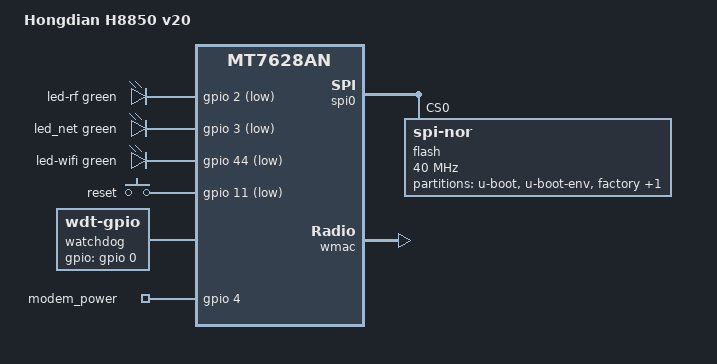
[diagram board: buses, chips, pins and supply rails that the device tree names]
// SPDX-License-Identifier: GPL-2.0-or-later OR MIT

#include "mt7628an.dtsi"

#include <dt-bindings/gpio/gpio.h>
#include <dt-bindings/input/input.h>
#include <dt-bindings/leds/common.h>

/ {
	compatible = "hongdian,h8850-v20", "mediatek,mt7628an-soc";
	model = "Hongdian H8850 v20";

	aliases {
		led-boot = &led_net;
		led-failsafe = &led_net;
		led-running = &led_net;
		led-upgrade = &led_net;
	};

	chosen {
		bootargs = "console=ttyS0,115200";
	};

	leds {
		compatible = "gpio-leds";

		led-rf {
			gpios = <&gpio 2 GPIO_ACTIVE_LOW>;
			color = <LED_COLOR_ID_GREEN>;
			function = "rf";
		};

		led_net: led-net {
			gpios = <&gpio 3 GPIO_ACTIVE_LOW>;
			color = <LED_COLOR_ID_GREEN>;
			function = LED_FUNCTION_MOBILE;
		};

		led-wifi {
			gpios = <&gpio 44 GPIO_ACTIVE_LOW>;
			color = <LED_COLOR_ID_GREEN>;
			function = LED_FUNCTION_WLAN;
			linux,default-trigger = "phy0tpt";
		};
	};

	keys {
		compatible = "gpio-keys";

		reset {
			label = "reset";
			gpios = <&gpio 11 GPIO_ACTIVE_LOW>;
			linux,code = <KEY_RESTART>;
		};
	};

	watchdog {
		compatible = "linux,wdt-gpio";

		gpios = <&gpio 0 GPIO_ACTIVE_HIGH>;
		hw_algo = "toggle";
		hw_margin_ms = <600>;
		always-running;
	};

	gpio-export {
		compatible = "gpio-export";

		gpio_modem_power {
			gpio-export,name = "modem_power";
			gpio-export,output = <1>;
			gpios = <&gpio 4 GPIO_ACTIVE_HIGH>;
		};
	};
};

&watchdog {
	status = "disabled";
};

&spi0 {
	status = "okay";

	flash@0 {
		compatible = "jedec,spi-nor";
		reg = <0>;
		spi-max-frequency = <40000000>;

		partitions {
			compatible = "fixed-partitions";
			#address-cells = <1>;
			#size-cells = <1>;

			partition@0 {
				label = "u-boot";
				reg = <0x0 0x30000>;
				read-only;
			};

			partition@30000 {
				label = "u-boot-env";
				reg = <0x30000 0x10000>;
				read-only;
			};

			partition@40000 {
				label = "factory";
				reg = <0x40000 0x10000>;
				read-only;

				nvmem-layout {
					compatible = "fixed-layout";
					#address-cells = <1>;
					#size-cells = <1>;

					eeprom_factory_0: eeprom@0 {
						reg = <0x0 0x400>;
					};

					macaddr_factory_4: macaddr@4 {
						reg = <0x4 0x6>;
					};
				};
			};

			partition@50000 {
				compatible = "denx,uimage";
				label = "firmware";
				reg = <0x50000 0xfb0000>;
			};
		};
	};
};

&state_default {
	gpio {
		groups = "i2s", "i2c", "spi cs1", "gpio", "perst", "refclk", "wdt", "p4led_an", "wled_an";
		function = "gpio";
	};
};

&ethernet {
	nvmem-cells = <&macaddr_factory_4>;
	nvmem-cell-names = "mac-address";
};

&esw {
	mediatek,portmap = <0x3e>;
	mediatek,portdisable = <0x30>;
};

&wmac {
	status = "okay";

	nvmem-cells = <&eeprom_factory_0>;
	nvmem-cell-names = "eeprom";
};
